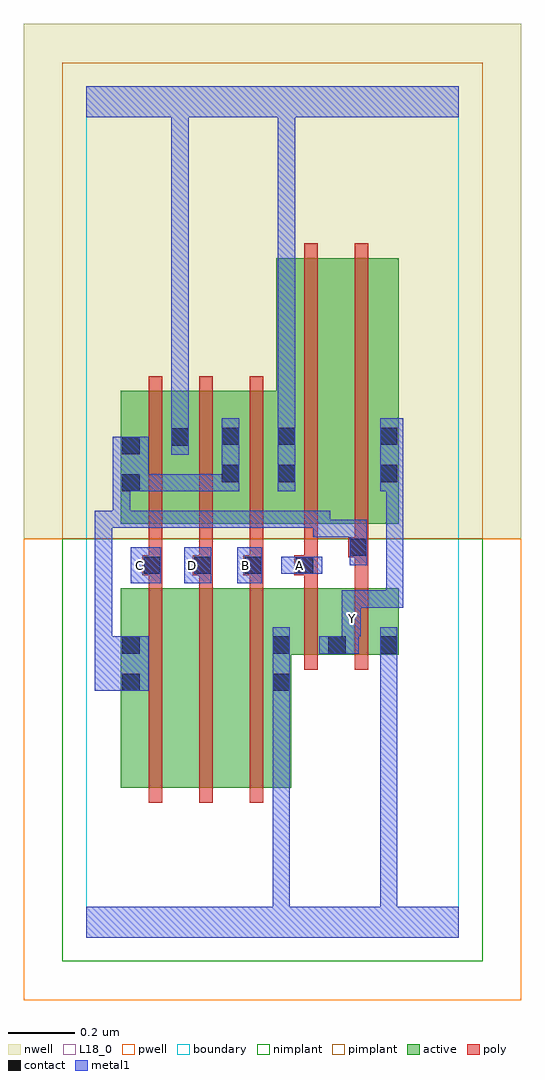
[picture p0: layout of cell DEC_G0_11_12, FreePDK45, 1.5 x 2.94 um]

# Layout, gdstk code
import gdstk
lib = gdstk.Library(unit=1e-6, precision=1e-09)
def R(c, l, rs):  # rectangles x0, y0, x1, y1
    for r in rs: c.add(gdstk.rectangle(r[:2], r[2:], *l))
def A(c, l, x, y, w, h, nx, ny, dx, dy):  # array of equal rectangles
    R(c, l, [(x+i*dx, y+j*dy, x+i*dx+w, y+j*dy+h) for i in range(nx) for j in range(ny)])
active = (1, 0)
pwell = (2, 0)
nwell = (3, 0)
nimplant = (4, 0)
pimplant = (5, 0)
poly = (9, 0)
contact = (10, 0)
metal1 = (11, 0)
L18_0 = (18, 0)
boundary = (235, 0)

dec_g0_11_12 = lib.new_cell('DEC_G0_11_12')
R(dec_g0_11_12, active, [(0.104,0.45,0.284,1.05), (0.284,0.45,0.436,1.05), (0.436,0.45,0.616,1.05), (0.556,0.45,0.616,0.91), (0.104,0.556,0.164,1.05), (0.556,0.85,0.784,1.05), (0.724,0.85,0.94,1.05), (0.724,0.85,0.784,0.91), (0.88,0.85,0.94,1.05), (0.104,1.244,0.164,1.644), (0.104,1.244,0.312,1.644), (0.252,1.244,0.312,1.644), (0.252,1.244,0.464,1.644), (0.404,1.244,0.464,1.644), (0.404,1.244,0.632,1.644), (0.572,1.244,0.752,2.044), (0.572,1.244,0.632,1.644), (0.752,1.244,0.94,2.044), (0.88,1.244,0.94,2.044)])
R(dec_g0_11_12, pwell, [(-0.188,-0.188,1.308,1.2)])
R(dec_g0_11_12, nwell, [(-0.188,1.2,1.308,2.748)])
R(dec_g0_11_12, nimplant, [(-0.072,-0.072,1.192,1.2)])
R(dec_g0_11_12, pimplant, [(-0.072,1.2,1.192,2.632)])
A(dec_g0_11_12, poly, 0.188, 0.406, 0.04, 0.688, 3, 1, 0.152, 0)
A(dec_g0_11_12, poly, 0.188, 1.054, 0.04, 0.076, 3, 1, 0.152, 0)
A(dec_g0_11_12, poly, 0.168, 1.09, 0.06, 0.06, 3, 1, 0.152, 0)
A(dec_g0_11_12, poly, 0.188, 1.11, 0.04, 0.13, 3, 1, 0.152, 0)
A(dec_g0_11_12, poly, 0.188, 1.2, 0.04, 0.488, 3, 1, 0.152, 0)
R(dec_g0_11_12, poly, [(0.656,0.806,0.696,1.094), (0.808,0.806,0.848,1.094), (0.656,1.054,0.696,1.13), (0.808,1.054,0.848,1.184), (0.626,1.09,0.696,1.15), (0.188,1.11,0.228,1.15), (0.188,1.11,0.228,1.15), (0.34,1.11,0.38,1.15), (0.34,1.11,0.38,1.15), (0.492,1.11,0.532,1.15), (0.492,1.11,0.532,1.15), (0.656,1.11,0.696,1.15), (0.656,1.11,0.696,1.15), (0.656,1.11,0.696,1.24), (0.788,1.144,0.848,1.204), (0.808,1.144,0.848,1.184), (0.808,1.144,0.848,1.184), (0.808,1.164,0.848,1.24), (0.656,1.2,0.696,2.088), (0.808,1.2,0.848,2.088)])
A(dec_g0_11_12, contact, 0.172, 1.094, 0.052, 0.052, 3, 1, 0.152, 0)
R(dec_g0_11_12, contact, [(0.108,0.742,0.16,0.794), (0.56,0.742,0.612,0.794), (0.108,0.854,0.16,0.906), (0.56,0.854,0.612,0.906), (0.728,0.854,0.78,0.906), (0.884,0.854,0.936,0.906), (0.63,1.094,0.682,1.146), (0.792,1.148,0.844,1.2), (0.108,1.342,0.16,1.394), (0.408,1.37,0.46,1.422), (0.576,1.37,0.628,1.422), (0.884,1.37,0.936,1.422), (0.108,1.454,0.16,1.506), (0.256,1.48,0.308,1.532), (0.408,1.482,0.46,1.534), (0.576,1.482,0.628,1.534), (0.884,1.482,0.936,1.534)])
R(dec_g0_11_12, metal1, [(0,0,1.12,0.092), (0.56,0.04,0.612,0.092), (0.56,0.04,0.612,0.092), (0.56,0.04,0.612,0.092), (0.56,0.04,0.612,0.092), (0.56,0.04,0.612,0.092), (0.56,0.04,0.612,0.092), (0.56,0.04,0.612,0.766), (0.884,0.04,0.936,0.878), (0.56,0.714,0.612,0.766), (0.56,0.714,0.612,0.766), (0.56,0.714,0.612,0.934), (0.026,0.742,0.188,0.906), (0.884,0.826,0.936,0.878), (0.884,0.826,0.936,0.878), (0.884,0.826,0.936,0.878), (0.884,0.826,0.936,0.878), (0.884,0.826,0.936,0.878), (0.884,0.826,0.936,0.878), (0.884,0.826,0.936,0.878), (0.884,0.826,0.936,0.878), (0.884,0.826,0.936,0.878), (0.884,0.826,0.936,0.878), (0.884,0.826,0.936,0.878), (0.884,0.826,0.936,0.878), (0.884,0.826,0.936,0.878), (0.884,0.826,0.936,0.878), (0.884,0.826,0.936,0.878), (0.884,0.826,0.936,0.878), (0.884,0.826,0.936,0.934), (0.026,0.854,0.078,1.284), (0.7,0.854,0.82,0.906), (0.768,0.854,0.82,0.958), (0.768,0.906,0.826,1.044), (0.774,0.992,0.954,1.044), (0.902,0.992,0.954,1.394), (0.902,0.992,0.954,1.044), (0.902,0.992,0.954,1.044), (0.902,0.992,0.954,1.044), (0.902,0.992,0.954,1.044), (0.902,0.992,0.954,1.044), (0.134,1.066,0.224,1.174), (0.294,1.066,0.376,1.174), (0.454,1.066,0.528,1.174), (0.586,1.094,0.71,1.146), (0.792,1.12,0.844,1.256), (0.682,1.204,0.844,1.256), (0.682,1.204,0.734,1.284), (0.026,1.232,0.078,1.284), (0.026,1.232,0.078,1.284), (0.026,1.232,0.132,1.284), (0.08,1.232,0.132,1.284), (0.08,1.232,0.132,1.284), (0.08,1.232,0.298,1.284), (0.08,1.232,0.132,1.394), (0.246,1.232,0.298,1.284), (0.246,1.232,0.298,1.284), (0.246,1.232,0.298,1.284), (0.246,1.232,0.418,1.284), (0.366,1.232,0.418,1.284), (0.366,1.232,0.528,1.284), (0.476,1.232,0.528,1.284), (0.476,1.232,0.528,1.284), (0.476,1.232,0.528,1.284), (0.476,1.232,0.734,1.284), (0.682,1.232,0.734,1.284), (0.682,1.232,0.734,1.284), (0.08,1.342,0.188,1.506), (0.136,1.342,0.188,1.394), (0.136,1.342,0.188,1.394), (0.136,1.342,0.308,1.394), (0.256,1.342,0.308,1.394), (0.256,1.342,0.308,1.394), (0.256,1.342,0.308,1.394), (0.256,1.342,0.46,1.394), (0.408,1.342,0.46,1.562), (0.576,1.342,0.628,1.562), (0.884,1.342,0.954,1.562), (0.256,1.452,0.308,1.56), (0.256,1.508,0.308,1.56), (0.256,1.508,0.308,1.56), (0.256,1.508,0.308,1.56), (0.256,1.508,0.308,1.56), (0.256,1.508,0.308,1.56), (0.256,1.508,0.308,1.56), (0.256,1.508,0.308,2.52), (0.576,1.51,0.628,1.562), (0.576,1.51,0.628,1.562), (0.576,1.51,0.628,1.562), (0.576,1.51,0.628,1.562), (0.576,1.51,0.628,1.562), (0.576,1.51,0.628,1.562), (0.576,1.51,0.628,1.562), (0.576,1.51,0.628,1.562), (0.576,1.51,0.628,2.52), (0,2.468,1.12,2.56), (0.256,2.468,0.308,2.52), (0.256,2.468,0.308,2.52), (0.256,2.468,0.308,2.52), (0.256,2.468,0.308,2.52), (0.256,2.468,0.308,2.52), (0.256,2.468,0.308,2.52), (0.256,2.468,0.308,2.52), (0.256,2.468,0.308,2.52), (0.256,2.468,0.308,2.52), (0.256,2.468,0.308,2.52)])
A(dec_g0_11_12, L18_0, 0.134, 1.094, 0.052, 0.052, 4, 1, 0.16, 0)
R(dec_g0_11_12, L18_0, [(0,0,1.12,0.092), (0.56,0.04,0.612,0.092), (0.56,0.04,0.612,0.092), (0.56,0.04,0.612,0.092), (0.56,0.04,0.612,0.092), (0.56,0.04,0.612,0.092), (0.56,0.04,0.612,0.092), (0.56,0.04,0.612,0.766), (0.884,0.04,0.936,0.878), (0.56,0.714,0.612,0.766), (0.56,0.714,0.612,0.766), (0.56,0.714,0.612,0.934), (0.884,0.826,0.936,0.934), (0.884,0.826,0.936,0.878), (0.884,0.826,0.936,0.878), (0.884,0.826,0.936,0.878), (0.884,0.826,0.936,0.878), (0.884,0.826,0.936,0.878), (0.884,0.826,0.936,0.878), (0.884,0.826,0.936,0.878), (0.884,0.826,0.936,0.878), (0.884,0.826,0.936,0.878), (0.884,0.826,0.936,0.878), (0.884,0.826,0.936,0.878), (0.884,0.826,0.936,0.878), (0.884,0.826,0.936,0.878), (0.884,0.826,0.936,0.878), (0.884,0.826,0.936,0.878), (0.884,0.826,0.936,0.878), (0.7,0.854,0.82,0.906), (0.768,0.854,0.82,0.958), (0.768,0.906,0.826,1.044), (0.774,0.934,0.826,0.986), (0.774,0.992,0.954,1.044), (0.902,0.992,0.954,1.044), (0.902,0.992,0.954,1.044), (0.902,0.992,0.954,1.044), (0.902,0.992,0.954,1.044), (0.902,0.992,0.954,1.044), (0.902,0.992,0.954,1.394), (0.134,1.066,0.224,1.174), (0.294,1.066,0.376,1.174), (0.454,1.066,0.528,1.174), (0.586,1.094,0.71,1.146), (0.576,1.342,0.628,1.562), (0.884,1.342,0.954,1.562), (0.256,1.452,0.308,1.56), (0.256,1.508,0.308,1.56), (0.256,1.508,0.308,1.56), (0.256,1.508,0.308,1.56), (0.256,1.508,0.308,1.56), (0.256,1.508,0.308,1.56), (0.256,1.508,0.308,1.56), (0.256,1.508,0.308,2.52), (0.576,1.51,0.628,1.562), (0.576,1.51,0.628,1.562), (0.576,1.51,0.628,1.562), (0.576,1.51,0.628,1.562), (0.576,1.51,0.628,1.562), (0.576,1.51,0.628,1.562), (0.576,1.51,0.628,1.562), (0.576,1.51,0.628,1.562), (0.576,1.51,0.628,2.52), (0,2.468,1.12,2.56), (0.256,2.468,0.308,2.52), (0.256,2.468,0.308,2.52), (0.256,2.468,0.308,2.52), (0.256,2.468,0.308,2.52), (0.256,2.468,0.308,2.52), (0.256,2.468,0.308,2.52), (0.256,2.468,0.308,2.52), (0.256,2.468,0.308,2.52), (0.256,2.468,0.308,2.52), (0.256,2.468,0.308,2.52)])
R(dec_g0_11_12, boundary, [(0,0,1.12,2.56)])
dec_g0_11_12.add(gdstk.Label('A', (0.64,1.12), layer=11, texttype=0))
dec_g0_11_12.add(gdstk.Label('B', (0.48,1.12), layer=11, texttype=0))
dec_g0_11_12.add(gdstk.Label('C', (0.16,1.12), layer=11, texttype=0))
dec_g0_11_12.add(gdstk.Label('D', (0.32,1.12), layer=11, texttype=0))
dec_g0_11_12.add(gdstk.Label('Y', (0.8,0.96), layer=11, texttype=0))

lib.write_gds('DEC_G0_11_12.gds')
